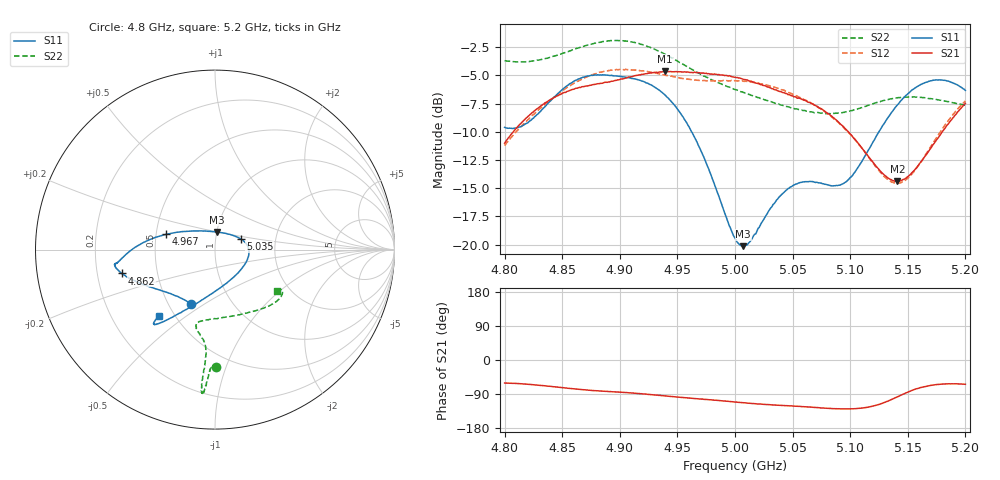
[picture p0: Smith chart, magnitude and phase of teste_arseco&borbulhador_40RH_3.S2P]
! Network Analyzer HP8722D
! Hewlett-Packard
! Data name: Linha & Wilkinson
! Saver's name: Rodrigo Anjos
! Comments: Teste da utilização de aquisição
! continua pelo VNA HP8722D
! Time and date: 15/4/2025 16:22
!  Frequency  S11  S21  S12  S22
# HZ  S  MA R 50
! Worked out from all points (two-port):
!   401 points, 4.8 GHz to 5.2 GHz, reference 50 ohm
!   highest |S21| = -4.64 dB at 4.939 GHz (marker M1); lowest = -14.4 dB at 5.141 GHz (marker M2)
!   |S21| within 3 dB of the highest: 4.832 GHz to 5.069 GHz (237 MHz wide, 4.79 % of centre); 5.198454 GHz to end of sweep
!   lowest |S11| = -20.1 dB at 5.007 GHz (marker M3), VSWR 1.22, Z = 50.1 + j9.89 ohm
!   |S11| at or under -10 dB: 4.962 GHz to 5.125 GHz (162.5 MHz wide, 3.22 % of centre)
!   |S22| runs from -8.4 to -1.9 dB; largest |S21 - S12| = 0.88
!   S11 on the Smith chart (normalised r, x): 4.8 GHz: 0.65, -0.44; 4.862 GHz: 0.31, -0.11; 4.967 GHz: 0.57, +0.11; 5.035 GHz: 1.32, +0.16; 5.2 GHz: 0.41, -0.40
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4.8e9  0.3311 -113.8  0.2816 -60.8  0.2748 -175.0  0.6538 -89.4
4.819e9  0.345 -133.5  0.3653 -63.7  0.3525 -173.2  0.6484 -91.1
4.862e9  0.5361 -165.7  0.4937 -76.5  0.5262 -176.3  0.7403 -93.5
4.867e9  0.5489 -167.6  0.5013 -78.2  0.5426 -177.4  0.753 -93.7
4.9e9  0.5571 -172.1  0.5393 -84.9  0.5978 176.0  0.8032 -95.2
4.934e9  0.4849 -178.0  0.5822 -93.4  0.5727 171.9  0.7193 -95.5
4.939e9  0.4623 180.0  0.5859 -94.6  0.5663 171.8  0.699 -95.4
4.953e9  0.3802 172.5  0.5844 -98.6  0.5457 172.5  0.6388 -95.0
4.967e9  0.285 162.5  0.5786 -102.0  0.5357 174.1  0.581 -94.9
5e9  0.1068 107.3  0.5519 -111.0  0.5341 176.5  0.4869 -99.3
5.007e9  0.09835 83.7  0.541 -112.7  0.5309 176.4  0.4735 -100.8
5.013e9  0.103 64.3  0.5304 -114.4  0.5257 176.2  0.4623 -102.3
5.035e9  0.1544 23.0  0.4859 -118.9  0.4974 175.0  0.4231 -103.9
5.05e9  0.1822 7.1  0.4569 -121.6  0.4643 174.3  0.4042 -100.3
5.067e9  0.1903 -11.3  0.4215 -124.5  0.4218 173.9  0.3874 -91.9
5.085e9  0.182 -39.7  0.3666 -128.4  0.3645 173.6  0.3819 -78.6
5.097e9  0.1908 -64.8  0.3214 -129.1  0.3201 174.6  0.3882 -68.6
5.134e9  0.3732 -116.1  0.1958 -106.8  0.1922 -159.8  0.4412 -43.4
5.141e9  0.4162 -120.0  0.1908 -97.1  0.1872 -148.7  0.4478 -40.2
5.152e9  0.4756 -124.4  0.204 -82.3  0.2012 -131.4  0.4515 -36.2
5.17e9  0.5328 -128.5  0.2675 -66.9  0.2724 -113.0  0.4438 -32.0
5.2e9  0.4827 -130.3  0.4228 -64.0  0.4338 -106.0  0.4154 -33.4
